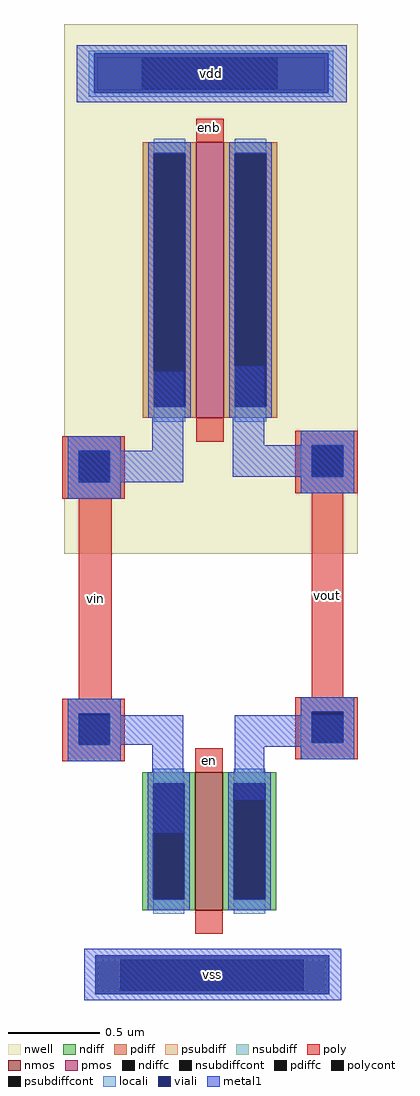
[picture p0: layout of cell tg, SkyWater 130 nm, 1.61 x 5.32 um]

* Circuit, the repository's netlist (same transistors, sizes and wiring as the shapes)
* NGSPICE file created from tg.ext - technology: sky130A

.subckt sky130_fd_pr__pfet_01v8_ZB94FE a_15_n150# a_n73_n150# w_n109_n212#
X0 a_15_n150# a_n15_n176# a_n73_n150# w_n109_n212# sky130_fd_pr__pfet_01v8 ad=0.435 pd=3.58 as=0.435 ps=3.58 w=1.5 l=0.15
.ends

.subckt sky130_fd_pr__nfet_01v8_NDWVGB a_15_n75# a_n73_n75# VSUBS
X0 a_15_n75# a_n15_n101# a_n73_n75# VSUBS sky130_fd_pr__nfet_01v8 ad=0.218 pd=2.08 as=0.218 ps=2.08 w=0.75 l=0.15
.ends

tg
Xsky130_fd_pr__pfet_01v8_ZB94FE_0 vout a_16_278# vdd sky130_fd_pr__pfet_01v8_ZB94FE
Xsky130_fd_pr__nfet_01v8_NDWVGB_0 vout a_16_278# vss sky130_fd_pr__nfet_01v8_NDWVGB
.ends

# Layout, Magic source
magic
tech sky130A
magscale 1 2
<< poly >>
rect 16 278 52 598
rect 270 278 304 604
<< metal1 >>
rect 14 978 308 1040
rect 96 598 130 684
rect 16 564 130 598
rect 184 604 218 690
rect 184 570 304 604
rect 16 278 130 310
rect 96 182 130 278
rect 186 276 306 310
rect 186 218 218 276
rect 22 0 302 56
use grid  grid_0 ../grid
transform 1 0 61 0 1 10
box -61 -10 259 1053
use sky130_fd_pr__nfet_01v8_NDWVGB  sky130_fd_pr__nfet_01v8_NDWVGB_0
transform 1 0 158 0 1 173
box -73 -101 73 101
use sky130_fd_pr__pfet_01v8_ZB94FE  sky130_fd_pr__pfet_01v8_ZB94FE_0
transform 1 0 159 0 1 784
box -109 -212 109 212
use via_m1_p  via_m1_p_0 ../via_m1_p
transform 1 0 252 0 1 262
box 0 0 68 68
use via_m1_p  via_m1_p_1 ../via_m1_p
transform 1 0 -2 0 1 546
box 0 0 68 68
use via_m1_p  via_m1_p_2 ../via_m1_p
transform 1 0 252 0 1 552
box 0 0 68 68
use via_m1_p  via_m1_p_3 ../via_m1_p
transform 1 0 -2 0 1 260
box 0 0 68 68
<< labels >>
rlabel space 143 937 173 963 1 enb
rlabel space 143 248 173 274 1 en
rlabel metal1 14 978 308 1040 1 vdd
rlabel metal1 22 0 302 56 1 vss
rlabel poly 270 278 304 604 1 vout
rlabel space 16 260 52 614 1 vin
<< end >>

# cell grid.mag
magic
tech sky130A
magscale 1 2
<< nwell >>
rect -61 476 259 1053
<< psubdiff >>
rect -24 0 0 34
rect 200 0 224 34
<< nsubdiff >>
rect -25 1016 223 1017
rect -25 982 24 1016
rect 171 982 223 1016
rect -25 981 223 982
<< psubdiffcont >>
rect 0 0 200 34
<< nsubdiffcont >>
rect 24 982 171 1016
<< locali >>
rect -34 1021 232 1024
rect -34 978 -28 1021
rect 227 978 232 1021
rect -34 974 232 978
<< viali >>
rect -28 1016 227 1021
rect -28 982 24 1016
rect 24 982 171 1016
rect 171 982 227 1016
rect -28 978 227 982
rect -27 34 228 39
rect -27 0 0 34
rect 0 0 200 34
rect 200 0 228 34
rect -27 -4 228 0
<< metal1 >>
rect -40 1021 239 1027
rect -40 978 -28 1021
rect 227 978 239 1021
rect -40 972 239 978
rect -39 39 240 45
rect -39 -4 -27 39
rect 228 -4 240 39
rect -39 -10 240 -4
<< end >>

# cell sky130_fd_pr__nfet_01v8_NDWVGB: kit device sky130_fd_pr__nfet_01v8, w 0.75 l 0.150 m 1 nf 1 diffcov 100 polycov 100 guard 0 glc 0 grc 0 gtc 0 gbc 0 tbcov 100 rlcov 100 topc 0 botc 0 poverlap 0 doverlap 1 lmin 0.15 wmin 0.42 compatible {sky130_fd_pr__nfet_01v8 sky130_fd_pr__nfet_01v8_lvt sky130_fd_bs_flash__special_sonosfet_star sky130_fd_pr__nfet_g5v0d10v5 sky130_fd_pr__nfet_05v0_nvt sky130_fd_pr__nfet_03v3_nvt} full_metal 0 viasrc 100 viadrn 100 viagate 100 viagb 0 viagr 0 viagl 0 viagt 0

# cell sky130_fd_pr__pfet_01v8_ZB94FE: kit device sky130_fd_pr__pfet_01v8, w 1.5 l 0.15 m 1 nf 1 diffcov 100 polycov 100 guard 0 glc 0 grc 0 gtc 1 gbc 0 tbcov 100 rlcov 100 topc 0 botc 0 poverlap 0 doverlap 1 lmin 0.15 wmin 0.42 compatible {sky130_fd_pr__pfet_01v8 sky130_fd_pr__pfet_01v8_lvt sky130_fd_pr__pfet_01v8_hvt sky130_fd_pr__pfet_g5v0d10v5} full_metal 0 viasrc 100 viadrn 100 viagate 100 viagb 0 viagr 0 viagl 0 viagt 0

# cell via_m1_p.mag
magic
tech sky130A
<< poly >>
rect 0 26 34 34
rect 0 9 9 26
rect 26 9 34 26
rect 0 0 34 9
<< polycont >>
rect 9 9 26 26
<< locali >>
rect 3 26 32 34
rect 3 9 9 26
rect 26 9 32 26
rect 3 0 32 9
<< viali >>
rect 9 9 26 26
<< metal1 >>
rect 3 26 32 34
rect 3 9 9 26
rect 26 9 32 26
rect 3 0 32 9
<< end >>
